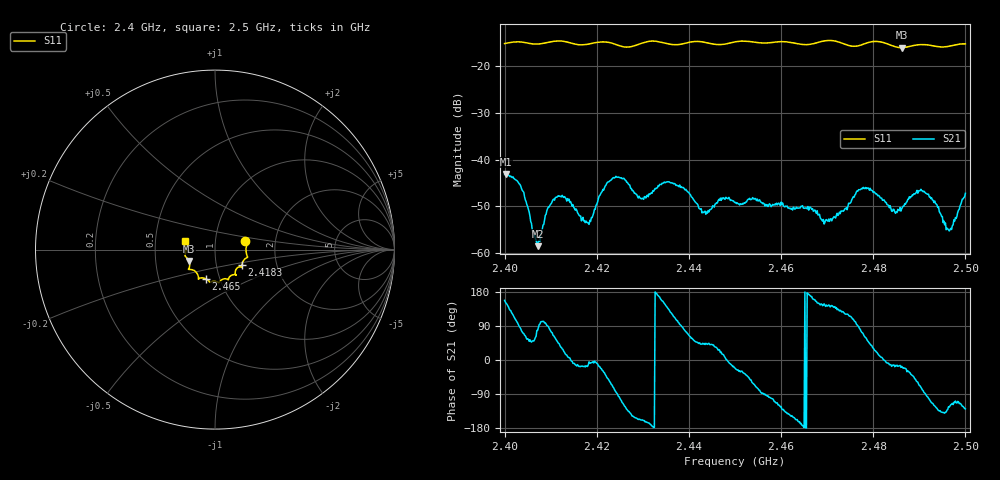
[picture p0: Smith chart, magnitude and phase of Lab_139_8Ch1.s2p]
# Hz S RI R 50
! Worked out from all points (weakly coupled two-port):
!   601 points, 2.4 GHz to 2.5 GHz, reference 50 ohm
!   highest |S21| = -43.06 dB at 2.4003 GHz (marker M1); lowest = -58.6 dB at 2.4072 GHz (marker M2)
!   lowest |S11| = -16.0 dB at 2.4862 GHz (marker M3), VSWR 1.38, Z = 37.1 - j4.8 ohm
!   |S11| at or under -10 dB: start of sweep to end of sweep
!   S12 and S22 are empty: the file has one direction only
!   S11 on the Smith chart (normalised r, x): 2.4 GHz: 1.40, +0.13; 2.4183 GHz: 1.33, -0.24; 2.465 GHz: 0.86, -0.29; 2.5 GHz: 0.71, +0.07
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2.4e9  0.1688 0.0454  -0.00638 0.00267  0 0  0 0
2.400333e9  0.1708 0.0432  -0.00606 0.00356  0 0  0 0
2.403667e9  0.1792 0.0291  0.0011 0.00476  0 0  0 0
2.407167e9  0.1728 -0.00535  0.00024 0.00116  0 0  0 0
2.4115e9  0.1819 -0.0409  0.00273 0.00297  0 0  0 0
2.416667e9  0.1548 -0.0684  0.00212 -0.00062  0 0  0 0
2.418333e9  0.1498 -0.0869  0.00202 -0.000169  0 0  0 0
2.423667e9  0.1447 -0.0966  0.00184 -0.00614  0 0  0 0
2.429667e9  0.113 -0.1344  -0.00353 -0.00139  0 0  0 0
2.433333e9  0.1168 -0.1414  -0.00519 0.000931  0 0  0 0
2.4385e9  0.0795 -0.1534  0.000196 0.00501  0 0  0 0
2.443333e9  0.0709 -0.1661  0.002 0.0019  0 0  0 0
2.45e9  0.0251 -0.1806  0.00322 -0.00126  0 0  0 0
2.465e9  -0.0528 -0.162  -0.00302 -8.27e-05  0 0  0 0
2.466667e9  -0.0714 -0.1575  -0.00285 0.000643  0 0  0 0
2.470667e9  -0.0925 -0.1645  -0.00177 0.00148  0 0  0 0
2.478333e9  -0.1362 -0.1107  0.00259 0.0043  0 0  0 0
2.483333e9  -0.1421 -0.096  0.0032 -0.000477  0 0  0 0
2.486167e9  -0.1448 -0.0631  0.00283 -0.000856  0 0  0 0
2.490833e9  -0.1672 -0.0337  0.000717 -0.00447  0 0  0 0
2.4965e9  -0.1624 0.0223  -0.000965 -0.00142  0 0  0 0
2.5e9  -0.1669 0.0475  -0.00274 -0.00337  0 0  0 0
